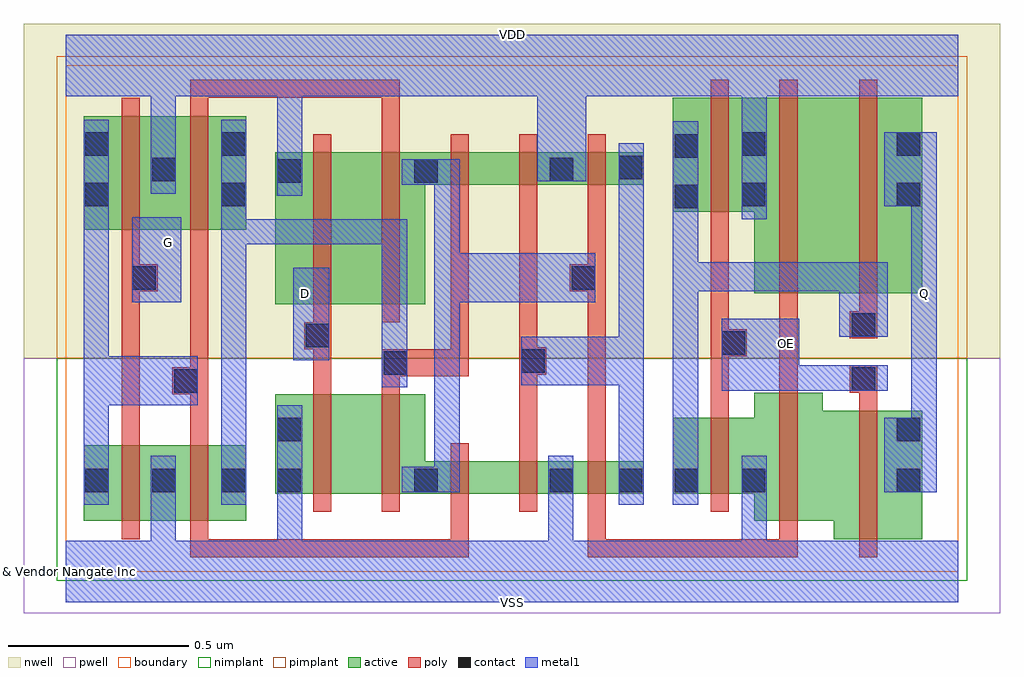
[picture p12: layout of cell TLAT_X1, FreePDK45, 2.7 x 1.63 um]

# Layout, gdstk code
import gdstk
lib = gdstk.Library(unit=1e-6, precision=1e-10)
def R(c, l, rs):  # rectangles x0, y0, x1, y1
    for r in rs: c.add(gdstk.rectangle(r[:2], r[2:], *l))
def P(c, l, *ps):  # polygons
    for p in ps: c.add(gdstk.Polygon(p, *l))
active = (1, 0)
pwell = (2, 0)
nwell = (3, 0)
nimplant = (4, 0)
pimplant = (5, 0)
poly = (9, 0)
contact = (10, 0)
metal1 = (11, 0)
boundary = (235, 0)

tlat_x1 = lib.new_cell('TLAT_X1')
R(tlat_x1, active, [(0.05,0.14,0.5,0.35), (0.05,0.945,0.5,1.26)])
P(tlat_x1, active, [(0.58,0.215),(0.58,0.49),(0.995,0.49),(0.995,0.305),(1.6,0.305),(1.6,0.215)],
  [(0.58,0.74),(0.58,1.16),(1.6,1.16),(1.6,1.07),(0.995,1.07),(0.995,0.74)],
  [(2.125,0.09),(2.125,0.14),(1.905,0.14),(1.905,0.215),(1.68,0.215),(1.68,0.425),(1.905,0.425),(1.905,0.495),(2.095,0.495),(2.095,0.445),(2.37,0.445),(2.37,0.09)],
  [(1.905,0.77),(1.905,0.995),(1.68,0.995),(1.68,1.31),(2.37,1.31),(2.37,0.77)])
R(tlat_x1, pwell, [(-0.115,-0.115,2.585,0.59)])
R(tlat_x1, nwell, [(-0.115,0.59,2.585,1.515)])
R(tlat_x1, nimplant, [(-0.025,-0.025,2.495,0.59)])
R(tlat_x1, pimplant, [(-0.025,0.59,2.495,1.425)])
P(tlat_x1, poly, [(0.155,0.09),(0.155,1.31),(0.205,1.31),(0.205,0.85),(0.255,0.85),(0.255,0.775),(0.205,0.775),(0.205,0.09)],
  [(0.685,0.165),(0.685,0.615),(0.66,0.615),(0.66,0.69),(0.685,0.69),(0.685,1.21),(0.735,1.21),(0.735,0.165)],
  [(0.345,0.04),(0.345,0.49),(0.295,0.49),(0.295,0.565),(0.345,0.565),(0.345,1.36),(0.925,1.36),(0.925,0.69),(0.875,0.69),(0.875,1.31),(0.395,1.31),(0.395,0.09),(1.065,0.09),(1.065,0.355),(1.115,0.355),(1.115,0.04)],
  [(0.875,0.165),(0.875,0.615),(1.065,0.615),(1.065,1.21),(1.115,1.21),(1.115,0.54),(0.925,0.54),(0.925,0.165)],
  [(1.255,0.165),(1.255,1.21),(1.305,1.21),(1.305,0.62),(1.33,0.62),(1.33,0.545),(1.305,0.545),(1.305,0.165)],
  [(1.785,0.165),(1.785,1.36),(1.835,1.36),(1.835,0.67),(1.885,0.67),(1.885,0.595),(1.835,0.595),(1.835,0.165)],
  [(1.445,0.04),(1.445,0.775),(1.395,0.775),(1.395,0.85),(1.445,0.85),(1.445,1.21),(1.495,1.21),(1.495,0.09),(1.975,0.09),(1.975,1.36),(2.025,1.36),(2.025,0.04)],
  [(2.195,0.04),(2.195,0.495),(2.17,0.495),(2.17,0.57),(2.245,0.57),(2.245,0.04)],
  [(2.17,0.645),(2.17,0.72),(2.195,0.72),(2.195,1.36),(2.245,1.36),(2.245,0.645)])
R(tlat_x1, contact, [(0.055,0.22,0.12,0.285), (0.24,0.22,0.305,0.285), (0.43,0.22,0.495,0.285), (0.585,0.22,0.65,0.285), (0.965,0.22,1.03,0.285), (1.34,0.22,1.405,0.285), (1.53,0.22,1.595,0.285), (1.685,0.22,1.75,0.285), (1.87,0.22,1.935,0.285), (2.3,0.22,2.365,0.285), (0.585,0.36,0.65,0.425), (2.3,0.36,2.365,0.425), (0.3,0.495,0.365,0.56), (2.175,0.5,2.24,0.565), (0.88,0.545,0.945,0.61), (1.26,0.55,1.325,0.615), (1.815,0.6,1.88,0.665), (0.665,0.62,0.73,0.685), (2.175,0.65,2.24,0.715), (0.185,0.78,0.25,0.845), (1.4,0.78,1.465,0.845), (1.685,1.005,1.75,1.07), (0.055,1.01,0.12,1.075), (0.43,1.01,0.495,1.075), (1.87,1.01,1.935,1.075), (2.3,1.01,2.365,1.075), (0.585,1.075,0.65,1.14), (0.965,1.075,1.03,1.14), (0.24,1.08,0.305,1.145), (1.34,1.08,1.405,1.145), (1.53,1.085,1.595,1.15), (1.685,1.145,1.75,1.21), (0.055,1.15,0.12,1.215), (0.43,1.15,0.495,1.215), (1.87,1.15,1.935,1.215), (2.3,1.15,2.365,1.215)])
R(tlat_x1, metal1, [(0.63,0.585,0.73,0.84), (0.185,0.745,0.32,0.98)])
P(tlat_x1, metal1, [(0.05,0.185),(0.05,1.25),(0.12,1.25),(0.12,0.595),(0.365,0.595),(0.365,0.46),(0.12,0.46),(0.12,0.185)],
  [(0.43,0.185),(0.43,1.25),(0.5,1.25),(0.5,0.975),(0.945,0.975),(0.945,0.51),(0.875,0.51),(0.875,0.905),(0.5,0.905),(0.5,0.185)],
  [(0.93,0.22),(0.93,0.29),(1.02,0.29),(1.02,1.07),(0.93,1.07),(0.93,1.14),(1.09,1.14),(1.09,0.88),(1.465,0.88),(1.465,0.745),(1.09,0.745),(1.09,0.22)],
  [(1.53,0.185),(1.53,0.515),(1.26,0.515),(1.26,0.65),(1.53,0.65),(1.53,1.185),(1.6,1.185),(1.6,0.185)],
  [(1.815,0.5),(1.815,0.7),(2.03,0.7),(2.03,0.57),(2.275,0.57),(2.275,0.5)],
  [(1.68,0.185),(1.68,1.245),(1.75,1.245),(1.75,0.855),(2.275,0.855),(2.275,0.65),(2.14,0.65),(2.14,0.775),(1.75,0.775),(1.75,0.185)],
  [(2.265,0.22),(2.265,0.425),(2.34,0.425),(2.34,1.01),(2.265,1.01),(2.265,1.215),(2.41,1.215),(2.41,0.22)],
  [(0,-0.085),(0,0.085),(0.235,0.085),(0.235,0.32),(0.305,0.32),(0.305,0.085),(0.585,0.085),(0.585,0.46),(0.655,0.46),(0.655,0.085),(1.335,0.085),(1.335,0.32),(1.405,0.32),(1.405,0.085),(1.87,0.085),(1.87,0.32),(1.94,0.32),(1.94,0.085),(2.47,0.085),(2.47,-0.085)],
  [(1.87,0.975),(1.87,1.315),(1.44,1.315),(1.44,1.08),(1.305,1.08),(1.305,1.315),(0.655,1.315),(0.655,1.04),(0.585,1.04),(0.585,1.315),(0.305,1.315),(0.305,1.045),(0.235,1.045),(0.235,1.315),(0,1.315),(0,1.485),(2.47,1.485),(2.47,1.315),(1.94,1.315),(1.94,0.975)])
R(tlat_x1, boundary, [(0,0,2.47,1.4)])
tlat_x1.add(gdstk.Label('D', (0.665,0.77), layer=11, texttype=0))
tlat_x1.add(gdstk.Label('G', (0.285,0.91), layer=11, texttype=0))
tlat_x1.add(gdstk.Label('OE', (1.995,0.63), layer=11, texttype=0))
tlat_x1.add(gdstk.Label('Q', (2.375,0.77), layer=11, texttype=0))
tlat_x1.add(gdstk.Label('VDD', (1.235,1.485), layer=11, texttype=0))
tlat_x1.add(gdstk.Label('VSS', (1.235,-0.085), layer=11, texttype=0))
tlat_x1.add(gdstk.Label('& Vendor Nangate Inc', (0,0), layer=63, texttype=63))
tlat_x1.add(gdstk.Label('& Product Open Cell Library', (0,0), layer=63, texttype=63))
tlat_x1.add(gdstk.Label('& Version 2010_12', (0,0), layer=63, texttype=63))
tlat_x1.add(gdstk.Label('& Instance TLAT_X1', (0,0), layer=63, texttype=63))

lib.write_gds('TLAT_X1.gds')
